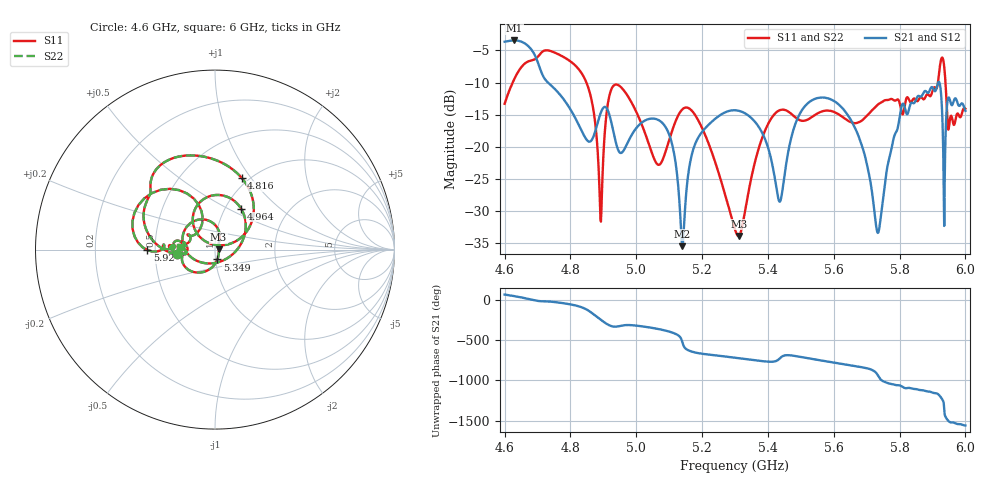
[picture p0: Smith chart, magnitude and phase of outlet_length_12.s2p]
! TOUCHSTONE file generated by CST MICROWAVE STUDIO
! Date and time: Mon Dec  2 04:50:25 2024
! Project name: test_tuning.cst
! Parameters = {airCoaxOuterDiameter=3; chamferAngle=45; chamferWidth=24; connectorLength=10; drillingHoleDiameter=4.1; feedLength=60; flareDiameter=130; flareLength=70; gratingDistance=0; gratingGap=1.90274; outletLength=90; polarizerLength=134; probe1Diameter=1.3; probe1Distance=14; probe1Length=1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
! Header version: 2024
! Port assignment regex: !\s*Touchstone port\s*([0-9]+)\s*=\s*(CST MWS port|CST DES external port|CST DES block port)\s*(.+)\s* \(\"(.*)\"\)(\s*mode\s*([0-9]+))?.*
! Touchstone port assignment:
! Touchstone port 1 = CST MWS port 1 ("Input1")
! Touchstone port 2 = CST MWS port 2 ("Input2")
# GHz S MA R 50
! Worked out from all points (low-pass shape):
!   1001 points, 4.6 GHz to 6 GHz, reference 50 ohm
!   highest |S21| = -3.47 dB at 4.629 GHz (marker M1); lowest = -35.4 dB at 5.14 GHz (marker M2)
!   |S21| within 3 dB of the highest: start of sweep to 4.698 GHz
!   lowest |S11| = -33.9 dB at 5.311 GHz (marker M3), VSWR 1.04, Z = 52.1 + j0.0988 ohm
!   |S11| at or under -10 dB: start of sweep to 4.625 GHz; 4.848 GHz to 5.917 GHz (1.068 GHz wide, 19.8 % of centre); 5.94 GHz to end of sweep
!   |S22| runs from -33.9 to -5.0 dB; largest |S21 - S12| = 8.1e-07
!   S11 on the Smith chart (normalised r, x): 4.6 GHz: 0.65, -0.04; 4.816 GHz: 0.92, +0.90; 4.964 GHz: 1.18, +0.58; 5.349 GHz: 1.02, -0.11; 5.92 GHz: 0.45, -0.00; 6 GHz: 0.67, +0.02
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4.6  0.2161 -172.9  0.6556 65.1  0.6556 65.1  0.2161 -172.9
4.6294  0.3365 173.6  0.6708 45.7  0.6708 45.7  0.3365 173.6
4.7008  0.501 135.9  0.4545 -13.6  0.4545 -13.6  0.501 135.9
4.8156  0.4267 69.7  0.1659 -70.4  0.1659 -70.4  0.4267 69.7
4.8338  0.3741 57.9  0.1336 -92.3  0.1336 -92.3  0.3741 57.9
4.8912  0.02789 61.7  0.1811 115.2  0.1811 115.2  0.02789 61.7
4.9192  0.2549 115.2  0.1743 41.7  0.1743 41.7  0.2549 115.2
4.964  0.2709 57.6  0.09592 44.9  0.09592 44.9  0.2709 57.6
5.0676  0.07253 -72.4  0.1615 -2.8  0.1615 -2.8  0.07253 -72.4
5.1404  0.196 156.0  0.01692 -171.2  0.01692 -171.2  0.196 156.0
5.181  0.1731 106.6  0.1084 64.3  0.1084 64.3  0.1731 106.6
5.3  0.0228 31.5  0.1925 0.7  0.1925 0.7  0.0228 31.5
5.3112  0.02029 2.7  0.1907 -5.4  0.1907 -5.4  0.02029 2.7
5.349  0.05662 -76.0  0.1681 -25.0  0.1681 -25.0  0.05662 -76.0
5.4358  0.1926 -150.4  0.03747 -8.2  0.03747 -8.2  0.1926 -150.4
5.5338  0.1708 -171.3  0.23 -13.4  0.23 -13.4  0.1708 -171.3
5.6584  0.1537 176.7  0.1509 -97.5  0.1509 -97.5  0.1537 176.7
5.734  0.2129 -173.6  0.02144 143.9  0.02144 143.9  0.2129 -173.6
5.7676  0.2323 178.6  0.07926 42.4  0.07926 42.4  0.2323 178.6
5.9202  0.3773 -179.6  0.3194 -103.0  0.3194 -103.0  0.3773 -179.6
5.9356  0.4214 126.5  0.0243 83.7  0.0243 83.7  0.4214 126.5
6  0.1977 175.1  0.1906 -118.6  0.1906 -118.6  0.1977 175.1
